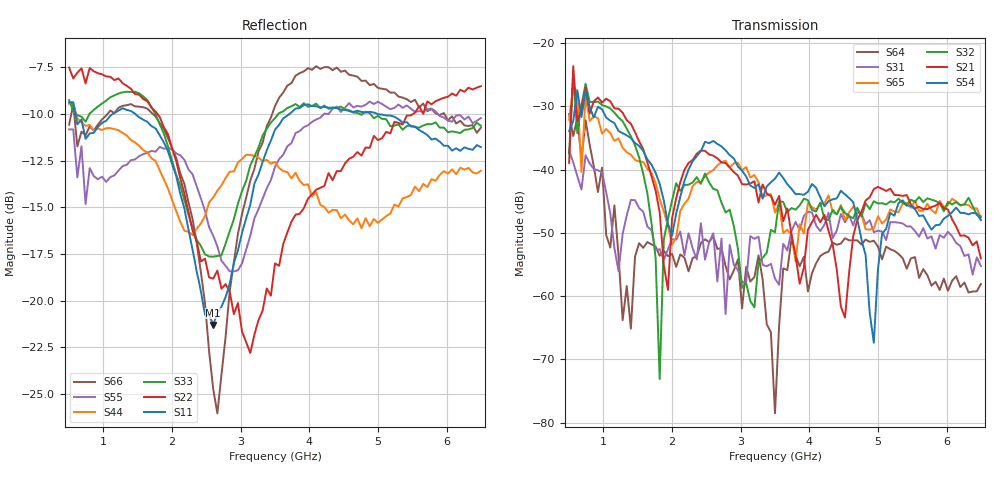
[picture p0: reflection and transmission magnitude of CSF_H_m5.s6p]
!Keysight Technologies,M9804A,MY58100912,A.14.10.03
!Date: Thursday, April 27, 2023 10:28:33
!Correction: S11(C  6-Port  )
!S12(C  6-Port  )
!S13(C  6-Port  )
!S14(C  6-Port  )
!S15(C  6-Port  )
!S16(C  6-Port  )
!S21(C  6-Port  )
!S22(C  6-Port  )
!S23(C  6-Port  )
!S24(C  6-Port  )
!S25(C  6-Port  )
!S26(C  6-Port  )
!S31(C  6-Port  )
!S32(C  6-Port  )
!S33(C  6-Port  )
!S34(C  6-Port  )
!S35(C  6-Port  )
!S36(C  6-Port  )
!S41(C  6-Port  )
!S42(C  6-Port  )
!S43(C  6-Port  )
!S44(C  6-Port  )
!S45(C  6-Port  )
!S46(C  6-Port  )
!S51(C  6-Port  )
!S52(C  6-Port  )
!S53(C  6-Port  )
!S54(C  6-Port  )
!S55(C  6-Port  )
!S56(C  6-Port  )
!S61(C  6-Port  )
!S62(C  6-Port  )
!S63(C  6-Port  )
!S64(C  6-Port  )
!S65(C  6-Port  )
!S66(C  6-Port  )
!S6P File: Measurement: :
# Hz S  RI  R 50
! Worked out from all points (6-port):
!   101 points, 500 MHz to 6.5 GHz, reference 50 ohm
!   strongest paths, dB at 500 MHz, 2 GHz, 3.5 GHz, 5 GHz, 6.5 GHz:
!     S54: -33.9, -50.4, -41.4, -55.8, -48.0
!     S21: -38.9, -47.7, -45.5, -42.7, -54.0
!     S32: -37.4, -44.9, -49.9, -45.3, -47.4
!     S65: -32.1, -51.8, -46.8, -47.4, -47.6
!     S31: -36.9, -51.0, -57.2, -49.6, -55.2
!     S64: -31.2, -53.3, -78.5, -52.2, -58.1
!   lowest |S11| = -21.3 dB at 2.6 GHz (marker M1), VSWR 1.19, Z = 42.4 + j2.29 ohm
!   |S11| at or under -10 dB: 592.1 MHz to 1.135 GHz (543.3 MHz wide, 62.9 % of centre); 1.466 GHz to 3.708 GHz (2.242 GHz wide, 86.7 % of centre); 4.995 GHz to end of sweep
